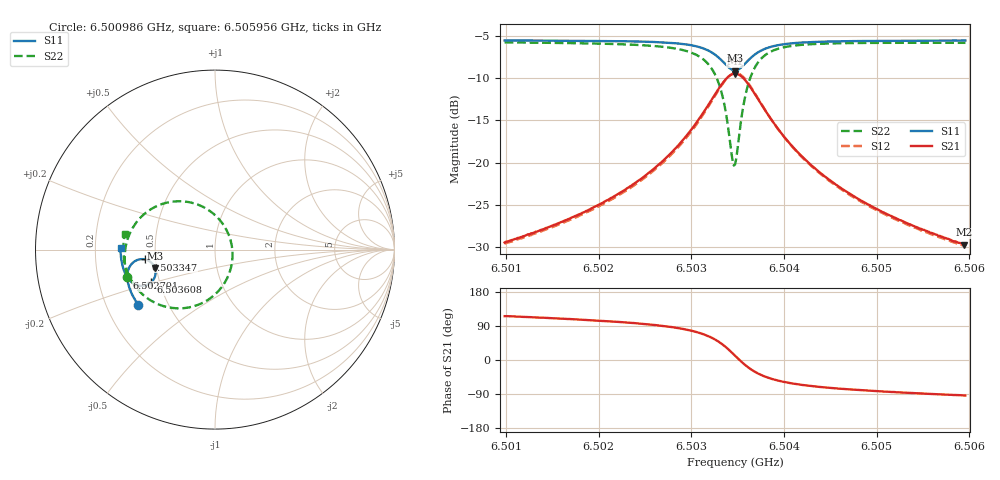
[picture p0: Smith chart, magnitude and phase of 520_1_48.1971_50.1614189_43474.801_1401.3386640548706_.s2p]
#  HZ  S  RI  R  50.00
! Rohde & Schwarz Vector Network Analyzer
! Rohde-Schwarz,ZNB20-2Port,1311601062101988,3.16
! Created: UTC 3/20/2024, 11:59:20 AM
! freq[Hz]  re:S11  im:S11  re:S21  im:S21  re:S12  im:S12  re:S22  im:S22
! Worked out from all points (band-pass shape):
!   401 points, 6.500986 GHz to 6.505956 GHz, reference 50 ohm
!   highest |S21| = -9.48 dB at 6.503471 GHz (marker M1); lowest = -29.7 dB at 6.505944 GHz (marker M2)
!   |S21| within 3 dB of the highest: 6.503224 GHz to 6.50372 GHz (496.4 kHz wide, 0.00763 % of centre)
!   lowest |S11| = -9.1 dB at 6.503471 GHz (marker M3), VSWR 2.08, Z = 24.5 - j5.87 ohm
!   |S11| at or under -10 dB: nowhere
!   |S22| runs from -20.3 to -5.8 dB; largest |S21 - S12| = 0.011
!   S11 on the Smith chart (normalised r, x): 6.500986 GHz: 0.34, -0.29; 6.502701 GHz: 0.33, -0.14; 6.503347 GHz: 0.44, -0.06; 6.503608 GHz: 0.45, -0.19; 6.505956 GHz: 0.31, +0.01
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6.5009858e9  -0.4277 -0.3082  -0.0147 0.0304  -0.0133 0.0305  -0.4903 -0.1523
6.5018184e9  -0.4634 -0.2464  -0.014 0.0484  -0.0119 0.048  -0.5032 -0.0634
6.5022658e9  -0.4791 -0.2065  -0.0113 0.0673  -0.00841 0.0663  -0.5 0.000559
6.502651e9  -0.4881 -0.1637  -0.00193 0.0978  0.00152 0.0955  -0.4798 0.078
6.5027007e9  -0.4887 -0.1572  0.000464 0.1034  0.00411 0.101  -0.4743 0.0906
6.5029368e9  -0.4855 -0.1203  0.0229 0.1401  0.0264 0.1359  -0.4278 0.1644
6.5030983e9  -0.4712 -0.0881  0.0617 0.1757  0.0643 0.1703  -0.3524 0.2278
6.5032475e9  -0.4341 -0.0584  0.1423 0.2048  0.1429 0.1989  -0.2055 0.2694
6.5033469e9  -0.3881 -0.055  0.2329 0.1888  0.2329 0.1845  -0.0488 0.2283
6.5034339e9  -0.3454 -0.0834  0.311 0.1154  0.3133 0.1117  0.076 0.0836
6.5034711e9  -0.3343 -0.1052  0.3289 0.0671  0.3324 0.0623  0.0971 -0.00686
6.503496e9  -0.3312 -0.1214  0.3326 0.0327  0.3365 0.0265  0.0952 -0.0696
6.5035333e9  -0.3333 -0.1453  0.3254 -0.0172  0.3292 -0.0254  0.0685 -0.1579
6.5036078e9  -0.3553 -0.182  0.2794 -0.0931  0.2797 -0.1041  -0.0401 -0.2804
6.5037197e9  -0.4005 -0.2021  0.1932 -0.1385  0.1884 -0.148  -0.2146 -0.3271
6.5038812e9  -0.4476 -0.1926  0.11 -0.1349  0.1032 -0.14  -0.3646 -0.2793
6.5040552e9  -0.4754 -0.1712  0.0647 -0.1141  0.0587 -0.1165  -0.4376 -0.2133
6.5043037e9  -0.4963 -0.1412  0.0343 -0.0894  0.0297 -0.0899  -0.4815 -0.1402
6.5046765e9  -0.5119 -0.102  0.0151 -0.0657  0.0118 -0.0653  -0.5041 -0.0649
6.5051363e9  -0.5214 -0.0593  0.00512 -0.0487  0.00287 -0.0481  -0.5104 0.000815
6.505944e9  -0.5265 0.00948  -0.00206 -0.0328  -0.00322 -0.0321  -0.5029 0.0871
6.5059564e9  -0.5265 0.0105  -0.00216 -0.0328  -0.00332 -0.032  -0.5026 0.0883
